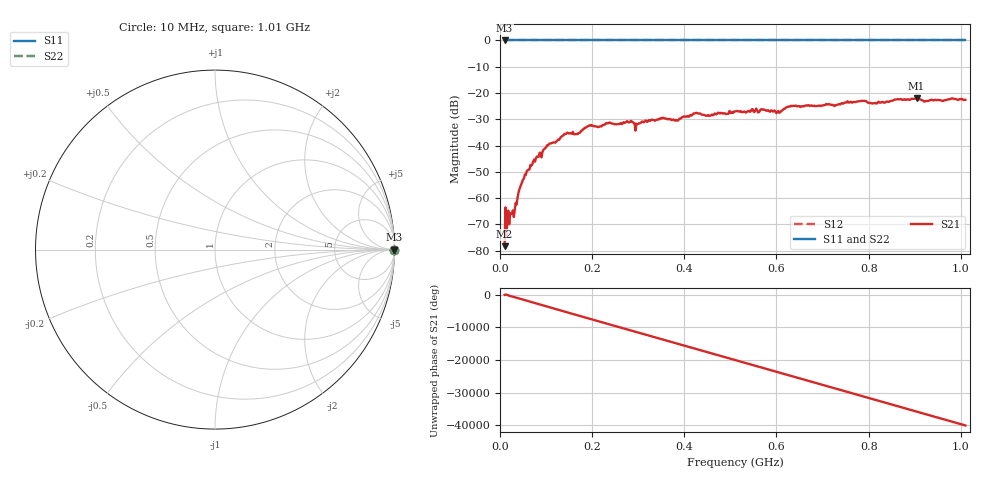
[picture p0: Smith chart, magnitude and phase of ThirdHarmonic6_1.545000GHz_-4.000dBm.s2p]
! 8/16/2025 6:19:33 PM
! C:\ANRITSUVNA\TEMP\TEMP.S2P
! CHANNEL.1
! TR.MEASUREMENT
! RAW.DATA
! RF.CORRECTION.OFF
! AVERAGING.OFF
! IF.BANDWIDTH: 5KHZ
! SWEEPTYPE:  FREQ.SWEEP(Linear)
! Reference Plane Port Info
! PORT:  PORT1  PORT2
! DISTANCE:  0  m  0  m
! TIME:  0  s  0  s
! PHASE.OFFSET:  0  deg.  0  deg.
! LOSS:  0  dB  0  dB
! REF.LOSS:  0  dB  0  dB
! REF.FREQ:  0  Hz  0  Hz
! Power Info
! POWER:  -20  dBm  -20  dBm
! EFF.POWER:  -20  dBm  -20  dBm
! SOURCE.ATTEN:  0  dB  0  dB
! TEST.ATTEN:  0  dB  0  dB
# GHZ S RI R 50.0
! FREQ.GHZ  S11RE  S11IM  S21RE  S21IM  S12RE  S12IM  S22RE  S22IM
!; PortSelection: Port_12
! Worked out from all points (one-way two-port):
!   501 points, 10 MHz to 1.01 GHz, reference 50 ohm
!   highest |S21| = -22.05 dB at 904 MHz (marker M1); lowest = -78.3 dB at 10 MHz (marker M2)
!   lowest |S11| = 0.0 dB at 10 MHz (marker M3)
!   |S11| at or under -10 dB: nowhere
!   |S22| runs from 0.0 to 0.0 dB; largest |S21 - S12| = 1.1
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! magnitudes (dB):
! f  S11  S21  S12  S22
! 10 MHz  0.0  -78.3  0.0  0.0
! 16 MHz  0.0  -68.5  0.0  0.0
! 32 MHz  0.0  -64.6  0.0  0.0
! 46 MHz  0.0  -54.9  0.0  0.0
! 70 MHz  0.0  -47.2  0.0  0.0
! 106 MHz  0.0  -39.5  0.0  0.0
! 142 MHz  0.0  -35.7  0.0  0.0
! 178 MHz  0.0  -34.3  0.0  0.0
! 194 MHz  0.0  -32.3  0.0  0.0
! 280 MHz  0.0  -31.2  0.0  0.0
! 298 MHz  0.0  -31.8  0.0  0.0
! 344 MHz  0.0  -30.1  0.0  0.0
! 382 MHz  0.0  -30.3  0.0  0.0
! 424 MHz  0.0  -27.7  0.0  0.0
! 452 MHz  0.0  -28.4  0.0  0.0
! 510 MHz  0.0  -27.0  0.0  0.0
! 604 MHz  0.0  -26.8  0.0  0.0
! 628 MHz  0.0  -25.1  0.0  0.0
! 678 MHz  0.0  -24.9  0.0  0.0
! 844 MHz  0.0  -23.4  0.0  0.0
! 904 MHz  0.0  -22.0  0.0  0.0
! 1.01 GHz  0.0  -22.6  0.0  0.0
